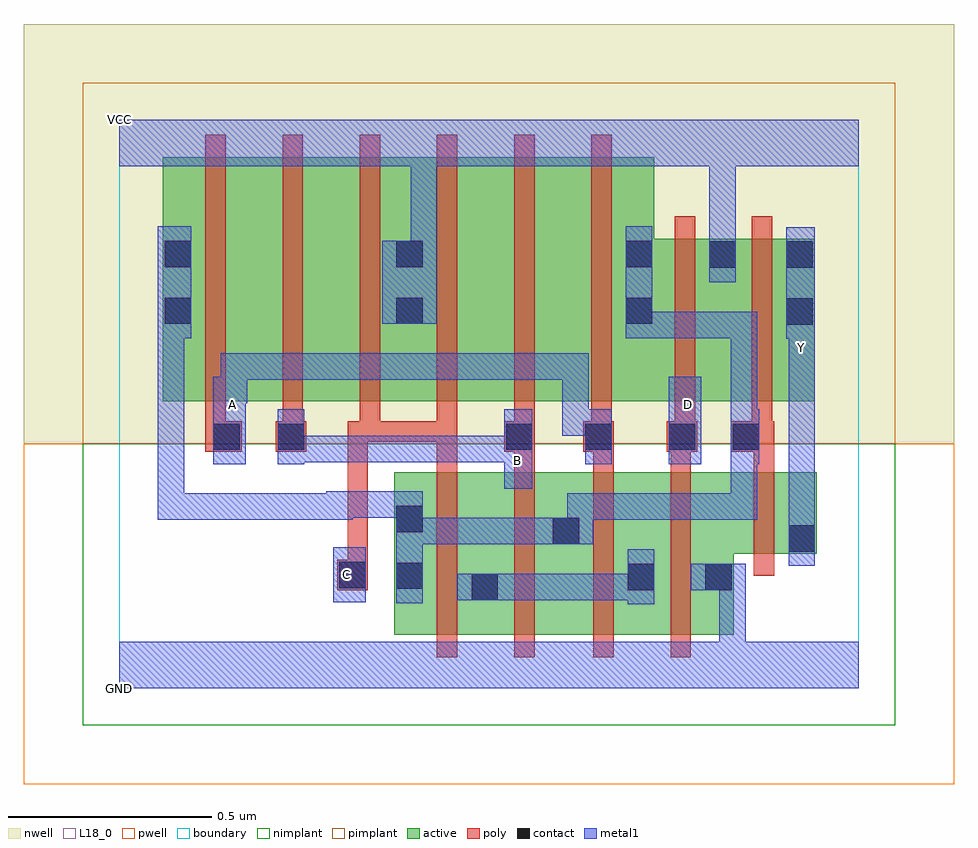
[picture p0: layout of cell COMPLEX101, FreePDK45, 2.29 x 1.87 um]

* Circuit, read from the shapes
.subckt COMPLEX101 A B C D GND VCC Y
M1 n1 C n2 VSUBS nfet w=0.4u l=0.05u
M2 n2 B n1 VSUBS nfet w=0.4u l=0.05u
M3 n1 A n2 VSUBS nfet w=0.4u l=0.05u
M4 GND D n1 VSUBS nfet w=0.4u l=0.05u
M5 Y n2 GND VSUBS nfet w=0.2u l=0.05u
M6 n3 A n2 n4 pfet w=0.6u l=0.05u
M7 n5 B n3 n4 pfet w=0.6u l=0.05u
M8 VCC C n5 n4 pfet w=0.6u l=0.05u
M9 n6 C VCC n4 pfet w=0.6u l=0.05u
M10 n7 B n6 n4 pfet w=0.6u l=0.05u
M11 n2 A n7 n4 pfet w=0.6u l=0.05u
M12 VCC D n2 n4 pfet w=0.4u l=0.05u
M13 Y n2 VCC n4 pfet w=0.4u l=0.05u
.ends

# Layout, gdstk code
import gdstk
lib = gdstk.Library(unit=1e-6, precision=1e-09)
def R(c, l, rs):  # rectangles x0, y0, x1, y1
    for r in rs: c.add(gdstk.rectangle(r[:2], r[2:], *l))
def A(c, l, x, y, w, h, nx, ny, dx, dy):  # array of equal rectangles
    R(c, l, [(x+i*dx, y+j*dy, x+i*dx+w, y+j*dy+h) for i in range(nx) for j in range(ny)])
active = (1, 0)
pwell = (2, 0)
nwell = (3, 0)
nimplant = (4, 0)
pimplant = (5, 0)
poly = (9, 0)
contact = (10, 0)
metal1 = (11, 0)
L18_0 = (18, 0)
boundary = (235, 0)

complex101 = lib.new_cell('COMPLEX101')
R(complex101, active, [(0.677,0.132,0.937,0.532), (0.862,0.132,1.137,0.532), (1.062,0.132,1.322,0.532), (1.247,0.132,1.512,0.532), (1.437,0.132,1.512,0.332), (0.677,0.147,0.752,0.532), (0.862,0.147,0.937,0.492), (1.062,0.147,1.137,0.492), (1.247,0.147,1.322,0.492), (1.437,0.332,1.717,0.532), (1.642,0.332,1.717,0.532), (0.107,0.707,0.332,1.307), (0.107,0.707,0.212,1.2), (0.332,0.707,0.522,1.307), (0.522,0.707,0.752,1.307), (0.677,0.707,0.902,1.307), (0.677,0.707,0.752,1.257), (0.902,0.707,1.092,1.307), (1.092,0.707,1.317,1.307), (1.242,0.707,1.522,1.107), (1.242,0.707,1.317,1.2), (1.447,0.707,1.712,1.107), (1.637,0.707,1.712,1.107), (1.447,0.907,1.522,1.107)])
R(complex101, pwell, [(-0.235,-0.235,2.055,0.602)])
R(complex101, nwell, [(-0.235,0.602,2.055,1.635)])
R(complex101, nimplant, [(-0.09,-0.09,1.91,0.602)])
R(complex101, pimplant, [(-0.09,0.602,1.91,1.49)])
A(complex101, poly, 0.212, 0.607, 0.05, 0.095, 6, 1, 0.19, 0)
A(complex101, poly, 0.212, 0.652, 0.05, 0.71, 6, 1, 0.19, 0)
R(complex101, poly, [(0.782,0.077,0.832,0.587), (0.972,0.077,1.022,0.587), (1.167,0.077,1.217,0.587), (1.357,0.077,1.407,0.587), (0.537,0.242,0.612,0.317), (0.562,0.267,0.612,0.317), (0.562,0.267,0.612,0.317), (0.562,0.267,0.612,0.657), (1.562,0.277,1.612,0.587), (0.782,0.537,0.832,0.657), (0.972,0.537,1.022,0.632), (1.167,0.537,1.217,0.632), (1.357,0.537,1.407,0.632), (1.562,0.537,1.612,0.632), (0.212,0.582,0.302,0.657), (0.385,0.582,0.46,0.657), (0.947,0.582,1.022,0.657), (1.142,0.582,1.217,0.657), (1.347,0.582,1.422,0.657), (1.505,0.582,1.612,0.657), (0.562,0.607,0.642,0.657), (0.592,0.607,0.832,0.657), (0.782,0.607,0.832,0.657), (0.782,0.607,0.832,0.657), (0.782,0.607,0.832,0.657), (1.367,0.607,1.417,0.702), (1.557,0.607,1.607,0.702), (1.367,0.652,1.417,1.162), (1.557,0.652,1.607,1.162)])
R(complex101, contact, [(0.867,0.217,0.932,0.282), (1.252,0.242,1.317,0.307), (1.442,0.242,1.507,0.307), (0.682,0.245,0.747,0.31), (0.542,0.247,0.607,0.312), (1.647,0.337,1.712,0.402), (1.067,0.355,1.132,0.42), (0.682,0.385,0.747,0.45), (0.232,0.587,0.297,0.652), (0.39,0.587,0.455,0.652), (0.952,0.587,1.017,0.652), (1.147,0.587,1.212,0.652), (1.352,0.587,1.417,0.652), (1.51,0.587,1.575,0.652), (1.642,0.895,1.707,0.96), (0.112,0.897,0.177,0.962), (0.682,0.897,0.747,0.962), (1.247,0.897,1.312,0.962), (1.452,1.035,1.517,1.1), (1.642,1.035,1.707,1.1), (0.112,1.037,0.177,1.102), (0.682,1.037,0.747,1.102), (1.247,1.037,1.312,1.102)])
R(complex101, metal1, [(0,0,1.82,0.115), (1.477,0.05,1.542,0.307), (1.252,0.207,1.317,0.342), (0.682,0.21,0.747,0.485), (0.527,0.212,0.607,0.347), (0.832,0.217,0.967,0.282), (0.902,0.217,0.967,0.282), (0.902,0.217,0.967,0.282), (0.902,0.217,1.175,0.282), (1.11,0.217,1.175,0.282), (1.11,0.217,1.175,0.282), (1.11,0.217,1.175,0.282), (1.11,0.217,1.317,0.282), (1.407,0.242,1.542,0.307), (1.647,0.302,1.712,0.437), (0.682,0.355,0.747,0.42), (0.682,0.355,0.747,0.42), (0.682,0.355,0.885,0.42), (0.82,0.355,0.885,0.42), (0.82,0.355,0.885,0.42), (0.82,0.355,0.885,0.42), (0.82,0.355,1.097,0.42), (1.032,0.355,1.167,0.42), (1.102,0.355,1.167,0.42), (1.102,0.355,1.167,0.48), (1.647,0.372,1.712,0.837), (0.095,0.415,0.16,0.48), (0.095,0.415,0.16,0.48), (0.095,0.415,0.16,0.48), (0.095,0.415,0.315,0.48), (0.095,0.415,0.16,0.927), (0.25,0.415,0.315,0.48), (0.25,0.415,0.455,0.48), (0.39,0.415,0.455,0.48), (0.39,0.415,0.575,0.48), (0.51,0.415,0.575,0.485), (1.102,0.415,1.312,0.48), (1.247,0.415,1.312,0.48), (1.247,0.415,1.312,0.48), (1.247,0.415,1.312,0.48), (1.247,0.415,1.57,0.48), (1.505,0.415,1.57,0.48), (1.505,0.415,1.57,0.617), (0.51,0.42,0.592,0.485), (0.527,0.42,0.592,0.485), (0.527,0.42,0.747,0.485), (0.947,0.492,1.017,0.687), (0.232,0.552,0.312,0.767), (0.39,0.552,0.455,0.687), (1.147,0.552,1.212,0.687), (1.352,0.552,1.432,0.767), (1.505,0.552,1.575,0.617), (1.505,0.552,1.57,0.617), (1.505,0.552,1.57,0.927), (1.51,0.552,1.575,0.687), (0.39,0.557,0.455,0.622), (0.39,0.557,0.455,0.622), (0.39,0.557,0.61,0.622), (0.545,0.557,0.61,0.622), (0.545,0.557,0.747,0.622), (0.682,0.557,0.747,0.622), (0.682,0.557,0.747,0.622), (0.682,0.557,0.747,0.622), (0.682,0.557,0.96,0.622), (0.895,0.557,0.96,0.622), (0.895,0.557,1.012,0.622), (1.09,0.622,1.155,0.687), (1.09,0.622,1.212,0.687), (1.09,0.622,1.155,0.825), (0.247,0.702,0.312,0.767), (0.247,0.702,0.315,0.767), (0.25,0.702,0.315,0.825), (0.25,0.76,0.315,0.825), (0.25,0.76,0.452,0.825), (0.387,0.76,0.452,0.825), (0.387,0.76,0.452,0.825), (0.387,0.76,0.452,0.825), (0.387,0.76,0.61,0.825), (0.545,0.76,0.61,0.825), (0.545,0.76,0.747,0.825), (0.682,0.76,0.747,0.825), (0.682,0.76,0.747,0.825), (0.682,0.76,0.747,0.825), (0.682,0.76,0.96,0.825), (0.895,0.76,0.96,0.825), (0.895,0.76,0.96,0.825), (0.895,0.76,0.96,0.825), (0.895,0.76,1.155,0.825), (1.09,0.76,1.155,0.825), (1.647,0.772,1.712,0.907), (1.647,0.842,1.712,0.925), (1.642,0.86,1.712,1.135), (0.095,0.862,0.16,0.927), (0.095,0.862,0.16,0.927), (0.095,0.862,0.177,1.137), (1.247,0.862,1.312,0.927), (1.247,0.862,1.312,0.927), (1.247,0.862,1.57,0.927), (1.247,0.862,1.312,1.137), (1.505,0.862,1.57,0.927), (0.647,0.897,0.782,1.102), (1.452,1,1.517,1.135), (0.717,1.037,0.782,1.35), (1.452,1.07,1.517,1.135), (1.452,1.07,1.517,1.135), (1.452,1.07,1.517,1.35), (0,1.285,1.82,1.4)])
R(complex101, L18_0, [(0,0,1.82,0.115), (1.477,0.05,1.542,0.307), (0.527,0.212,0.607,0.347), (1.407,0.242,1.542,0.307), (0.527,0.247,0.592,0.312), (1.647,0.302,1.712,0.437), (1.647,0.372,1.712,0.837), (0.947,0.492,1.017,0.687), (0.947,0.527,1.012,0.592), (0.232,0.552,0.312,0.767), (0.39,0.552,0.455,0.687), (1.147,0.552,1.212,0.687), (1.352,0.552,1.432,0.767), (0.39,0.557,0.455,0.622), (0.39,0.557,0.455,0.622), (0.39,0.557,0.61,0.622), (0.545,0.557,0.61,0.622), (0.545,0.557,0.747,0.622), (0.682,0.557,0.747,0.622), (0.682,0.557,0.747,0.622), (0.682,0.557,0.747,0.622), (0.682,0.557,0.96,0.622), (0.895,0.557,0.96,0.622), (0.895,0.557,1.012,0.622), (1.09,0.622,1.155,0.687), (1.09,0.622,1.155,0.825), (1.09,0.622,1.212,0.687), (0.247,0.667,0.312,0.732), (1.367,0.667,1.432,0.732), (0.247,0.702,0.315,0.767), (0.247,0.702,0.312,0.767), (0.25,0.702,0.315,0.825), (0.25,0.76,0.315,0.825), (0.25,0.76,0.452,0.825), (0.387,0.76,0.452,0.825), (0.387,0.76,0.452,0.825), (0.387,0.76,0.452,0.825), (0.387,0.76,0.61,0.825), (0.545,0.76,0.61,0.825), (0.545,0.76,0.747,0.825), (0.682,0.76,0.747,0.825), (0.682,0.76,0.747,0.825), (0.682,0.76,0.747,0.825), (0.682,0.76,0.96,0.825), (0.895,0.76,0.96,0.825), (0.895,0.76,0.96,0.825), (0.895,0.76,0.96,0.825), (0.895,0.76,1.155,0.825), (1.09,0.76,1.155,0.825), (1.647,0.772,1.712,0.907), (1.647,0.807,1.712,0.872), (1.647,0.842,1.712,0.925), (1.642,0.86,1.712,1.135), (0.647,0.897,0.782,1.102), (1.452,1,1.517,1.135), (0.717,1.037,0.782,1.35), (1.452,1.07,1.517,1.135), (1.452,1.07,1.517,1.135), (1.452,1.07,1.517,1.35), (0,1.285,1.82,1.4)])
R(complex101, boundary, [(0,0,1.82,1.4)])
complex101.add(gdstk.Label('A', (0.28,0.7), layer=11, texttype=0))
complex101.add(gdstk.Label('B', (0.98,0.56), layer=11, texttype=0))
complex101.add(gdstk.Label('C', (0.56,0.28), layer=11, texttype=0))
complex101.add(gdstk.Label('D', (1.4,0.7), layer=11, texttype=0))
complex101.add(gdstk.Label('Y', (1.68,0.84), layer=11, texttype=0))
complex101.add(gdstk.Label('VCC', (0,1.4), layer=11, texttype=0))
complex101.add(gdstk.Label('GND', (0,0), layer=11, texttype=0))

lib.write_gds('COMPLEX101.gds')
